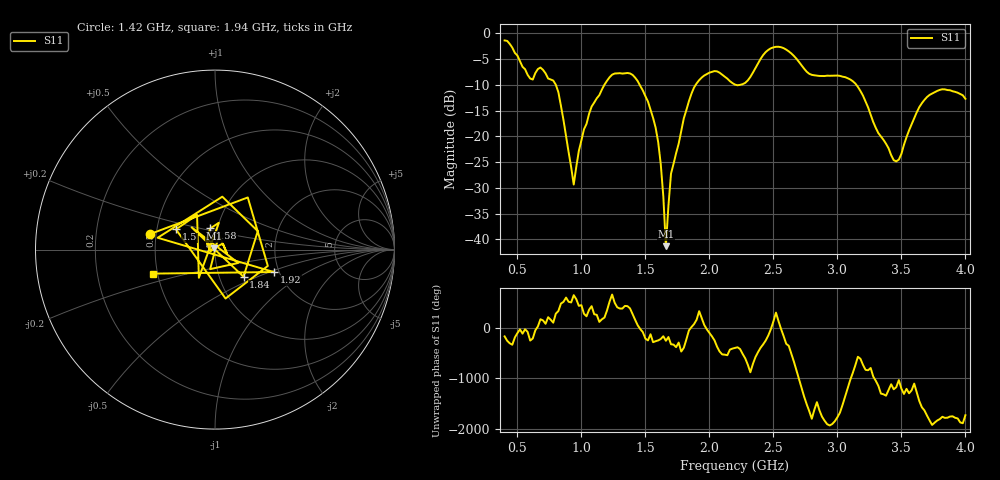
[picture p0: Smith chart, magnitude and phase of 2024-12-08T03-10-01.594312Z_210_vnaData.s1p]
!Created with skrf (http://scikit-rf.org).
# Hz S RI R 50.0
!freq ReS11 ImS11
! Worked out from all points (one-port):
!   181 points, 400 MHz to 4 GHz, reference 50 ohm
!   lowest |S11| = -41.3 dB at 1.66 GHz (marker M1), VSWR 1.02, Z = 49.7 + j0.801 ohm
!   |S11| at or under -10 dB: 800.4 MHz to 1.18 GHz (379.2 MHz wide, 38.3 % of centre); 1.455 GHz to 1.893 GHz (438.1 MHz wide, 26.2 % of centre); 3.148 GHz to end of sweep (the widest 3 of 4)
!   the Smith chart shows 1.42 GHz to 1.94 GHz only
!   S11 on the Smith chart (normalised r, x): 1.42 GHz: 0.46, +0.09; 1.5 GHz: 0.63, +0.15; 1.58 GHz: 0.92, +0.22; 1.84 GHz: 1.30, -0.41; 1.92 GHz: 1.87, -0.53; 1.94 GHz: 0.47, -0.15
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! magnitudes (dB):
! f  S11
! 400 MHz  -1.4
! 600 MHz  -8.8
! 680 MHz  -6.7
! 780 MHz  -9.2
! 860 MHz  -16.8
! 940 MHz  -29.4
! 980 MHz  -22.8
! 1.08 GHz  -14.2
! 1.3 GHz  -7.7
! 1.42 GHz  -8.6
! 1.5 GHz  -12.2
! 1.58 GHz  -18.3
! 1.62 GHz  -25.4
! 1.66 GHz  -41.3
! 1.7 GHz  -27.3
! 1.76 GHz  -21.4
! 1.84 GHz  -13.2
! 1.92 GHz  -9.1
! 1.94 GHz  -8.6
! 2.2 GHz  -10.0
! 2.48 GHz  -2.9
! 2.66 GHz  -4.4
! 2.78 GHz  -7.9
! 3.1 GHz  -9.0
! 3.44 GHz  -24.6
! 3.56 GHz  -18.8
! 3.72 GHz  -12.0
! 4 GHz  -12.7
